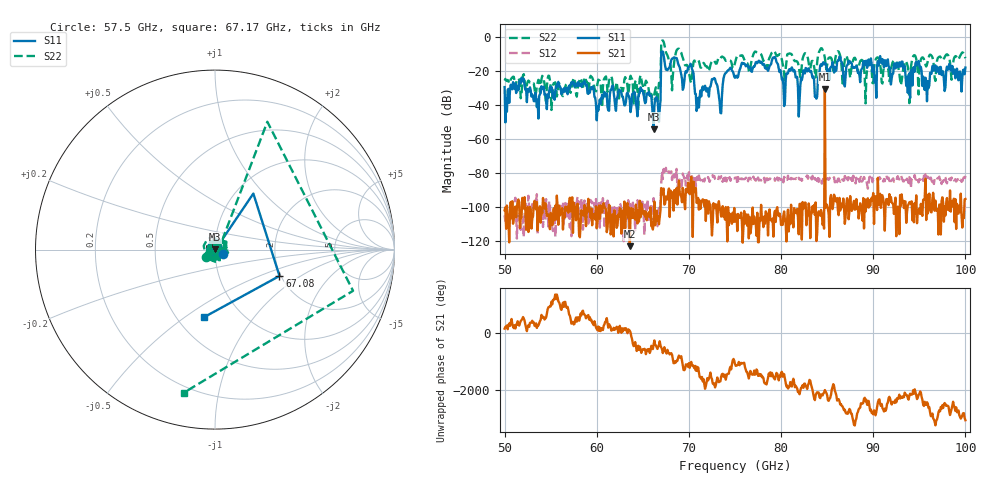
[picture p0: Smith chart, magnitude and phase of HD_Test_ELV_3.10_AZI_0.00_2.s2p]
! 11/25/2026 9:11:13 AM
! C:\ANRITSUVNA\TEMP\TEMP.S2P
! CHANNEL.1
! TR.MEASUREMENT
! RAW.DATA
# HZ S RI R 50.0
! FREQ.HZ  S11RE  S11IM  S21RE  S21IM  S12RE  S12IM  S22RE  S22IM
!; PortSelection: Port_12
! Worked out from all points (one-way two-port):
!   601 points, 50 GHz to 100 GHz, reference 50 ohm
!   highest |S21| = -30.44 dB at 84.75 GHz (marker M1); lowest = -122.8 dB at 63.58 GHz (marker M2)
!   lowest |S11| = -54.1 dB at 66.17 GHz (marker M3), VSWR 1.00, Z = 50.1 + j0.156 ohm
!   |S11| at or under -10 dB: start of sweep to 67 GHz; 67.24 GHz to end of sweep
!   |S22| runs from -42.7 to -1.8 dB; largest |S21 - S12| = 0.03
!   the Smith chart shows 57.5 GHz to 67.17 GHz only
!   S11 on the Smith chart (normalised r, x): 57.5 GHz: 1.09, -0.05; 67.08 GHz: 1.97, -0.68; 67.17 GHz: 0.67, -0.59
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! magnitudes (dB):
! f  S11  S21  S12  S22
! 50 GHz  -29.2  -101.7  -104.6  -25.3
! 57.5 GHz  -26.2  -97.2  -101.8  -23.7
! 58.42 GHz  -27.2  -103.6  -101.6  -29.0
! 60.17 GHz  -43.0  -100.6  -100.1  -24.8
! 63.58 GHz  -37.0  -122.8  -97.9  -24.5
! 66.17 GHz  -54.1  -109.8  -94.5  -35.3
! 66.67 GHz  -41.9  -105.2  -101.7  -32.1
! 67.08 GHz  -8.2  -92.3  -78.8  -1.9
! 67.17 GHz  -8.3  -90.4  -83.3  -1.8
! 70.17 GHz  -15.5  -88.2  -83.8  -25.7
! 70.92 GHz  -40.8  -96.4  -82.0  -13.3
! 75 GHz  -23.7  -108.3  -82.5  -15.0
! 79.25 GHz  -11.8  -104.6  -82.7  -7.9
! 80.25 GHz  -27.5  -104.6  -85.2  -17.7
! 83.42 GHz  -23.7  -99.3  -81.4  -13.8
! 83.83 GHz  -36.0  -119.7  -83.7  -19.5
! 84.75 GHz  -15.1  -30.4  -82.9  -11.9
! 91.67 GHz  -16.6  -98.6  -82.4  -20.5
! 93.75 GHz  -32.5  -98.9  -84.2  -17.3
! 94.83 GHz  -15.0  -102.7  -82.8  -20.3
! 95.83 GHz  -37.5  -92.5  -81.8  -15.9
! 100 GHz  -17.7  -95.0  -81.4  -12.2
